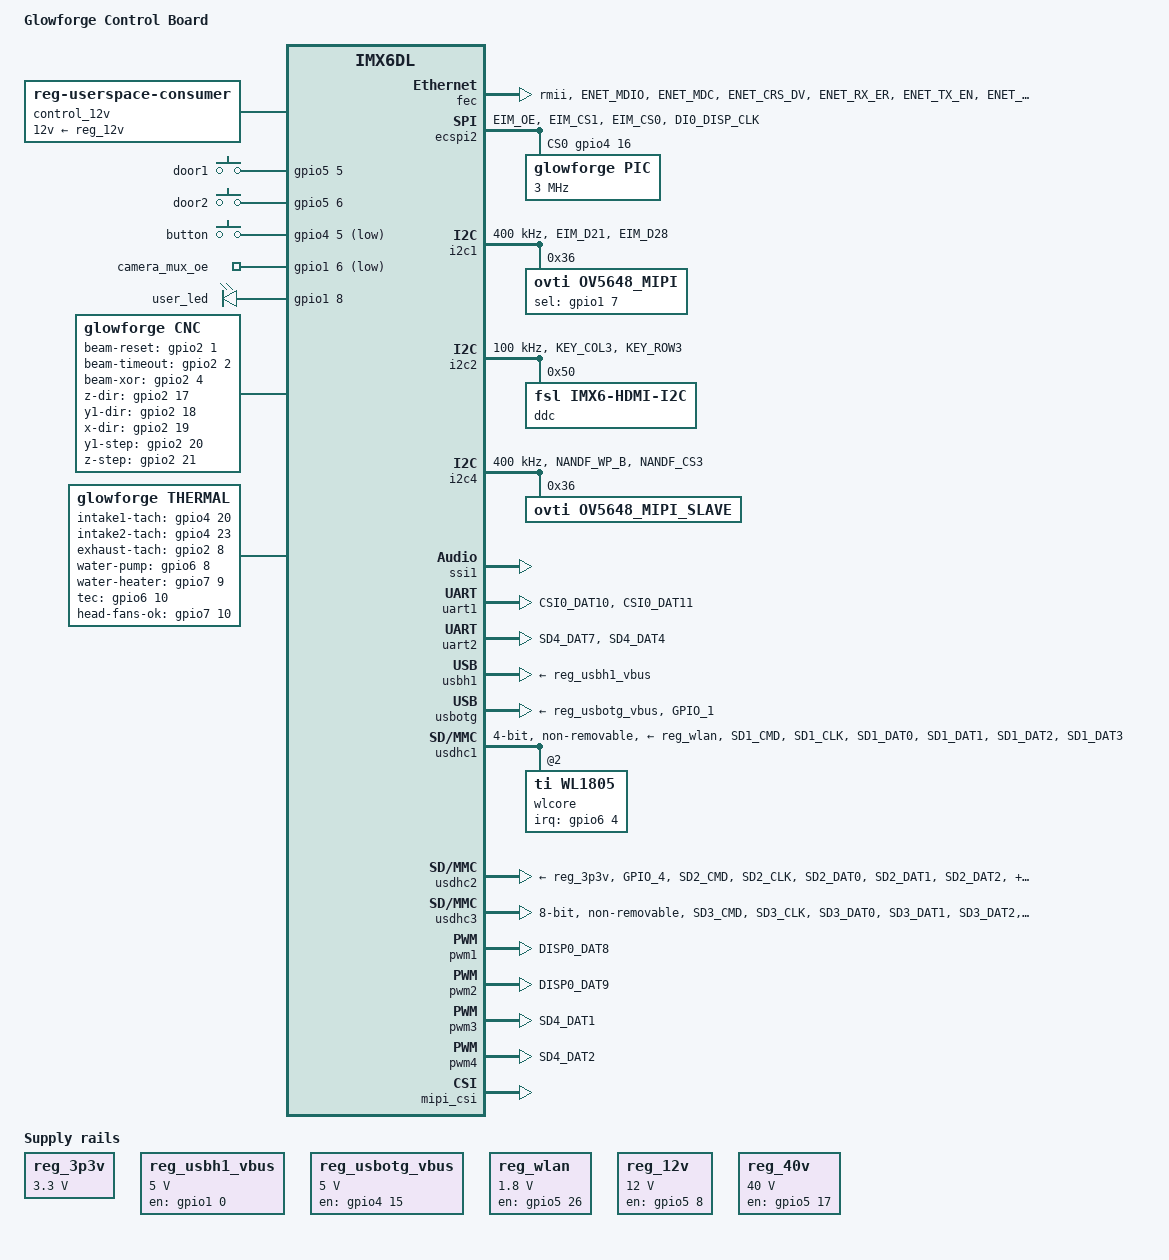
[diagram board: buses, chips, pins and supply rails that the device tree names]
/*
 * Copyright (C) 2015 Glowforge, Inc. <opensource@glowforge.com>
 * Based on work by Rabeeh Khoury and Russell King.
 */
/dts-v1/;

#include "imx6dl.dtsi"
#include <dt-bindings/gpio/gpio.h>

/ {
	model = "Glowforge Control Board";
	compatible = "glowforge,imx6dl-glowforge", "fsl,imx6dl";

	/* An i.MX6 Solo is a DualLite with only one core. */
	cpus {
		/delete-node/ cpu@1;
	};

	chosen {
		bootargs = "quiet console=ttymxc0,115200 root=/dev/mmcblk1p2 rw";
	};

	aliases {
		mxcfb0 = &mxcfb1;
		i2c2 = &i2c4; /* code expects I2C4 to be at /dev/i2c-2 */
	};

	regulators {
		compatible = "simple-bus";

		reg_3p3v: 3p3v {
			compatible = "regulator-fixed";
			regulator-name = "3p3v";
			regulator-min-microvolt = <3300000>;
			regulator-max-microvolt = <3300000>;
			regulator-always-on;
		};

		reg_usbh1_vbus: usb-h1-vbus {
			compatible = "regulator-fixed";
			enable-active-high;
			gpio = <&gpio1 0 0>;
			pinctrl-names = "default";
			pinctrl-0 = <&pinctrl_usbh1_vbus>;
			regulator-name = "usb_h1_vbus";
			regulator-min-microvolt = <5000000>;
			regulator-max-microvolt = <5000000>;
		};

		reg_usbotg_vbus: usb-otg-vbus {
			compatible = "regulator-fixed";
			enable-active-high;
			gpio = <&gpio4 15 0>;
			pinctrl-names = "default";
			pinctrl-0 = <&pinctrl_usbotg_vbus>;
			regulator-name = "usb_otg_vbus";
			regulator-min-microvolt = <5000000>;
			regulator-max-microvolt = <5000000>;
		};

		reg_wlan: wlan-vbus {
			compatible = "regulator-fixed";
			regulator-name = "wlan-en-regulator";
			regulator-min-microvolt = <1800000>;
			regulator-max-microvolt = <1800000>;
			/* WLAN_EN GPIO */
			gpio = <&gpio5 26 0>;
			/* WLAN card specific delay */
			startup-delay-us = <70000>;
			enable-active-high;
		};

		reg_12v: 12v {
			compatible = "regulator-fixed";
			enable-active-high;
			regulator-boot-on;
			gpio = <&gpio5 8 0>;
			pinctrl-names = "default";
			pinctrl-0 = <&pinctrl_12v>;
			regulator-name = "12v";
			regulator-min-microvolt = <12000000>;
			regulator-max-microvolt = <12000000>;
		};

		reg_40v: 40v {
			compatible = "regulator-fixed";
			enable-active-high;
			gpio = <&gpio5 17 0>;
			pinctrl-names = "default";
			pinctrl-0 = <&pinctrl_40v>;
			regulator-name = "40v";
			regulator-min-microvolt = <40000000>;
			regulator-max-microvolt = <40000000>;
		};

		control_12v: control_12v {
			compatible = "reg-userspace-consumer";
			regulator-name = "control_12v";
			regulator-boot-on;
			regulator-supplies = "12v";
			12v-supply = <&reg_12v>;
		};
	};

	mxcfb1: fb@0 {
		compatible = "fsl,mxc_sdc_fb";
		disp_dev = "hdmi";
		interface_pix_fmt = "RGB24";
		mode_str ="1920x1080M@60";
		default_bpp = <32>;
		int_clk = <0>;
		late_init = <0>;
		status = "okay";
	};

	v4l2_cap_0 {
		compatible = "fsl,imx6q-v4l2-capture";
		ipu_id = <0>;
		csi_id = <1>;
		mclk_source = <0>;
		mipi_camera = <1>;
		default_input = <1>;
		status = "okay";
	};

	/* switches */
	switches {
		compatible = "gpio-keys";
		pinctrl-names = "default";
		pinctrl-0 = <&pinctrl_switches>;

		door1 {
			label = "door1";
			gpios = <&gpio5 5 GPIO_ACTIVE_HIGH>;
			debounce-interval = <5>;
			linux,code = <0>;
			linux,input-type = <5>; /* EV_SW */
		};
		door2 {
			label = "door2";
			gpios = <&gpio5 6 GPIO_ACTIVE_HIGH>;
			debounce-interval = <5>;
			linux,code = <1>;
			linux,input-type = <5>; /* EV_SW */
		};
		button {
			label = "button";
			gpios = <&gpio4 5 GPIO_ACTIVE_LOW>;
			debounce-interval = <20>;
			linux,code = <2>;
			linux,input-type = <5>; /* EV_SW */
		};
	};

	v4l2_out {
		compatible = "fsl,mxc_v4l2_output";
		status = "okay";
	};

	/* camera mux control */
	camera_mux {
		compatible = "gpio-leds";
		oe {
			label = "camera_mux_oe";
			gpios = <&gpio1 6 GPIO_ACTIVE_LOW>;
			default-state = "on";
		};
	};

	/* LEDs */
	leds {
		compatible = "gpio-leds";
		user_led {
			label = "user_led";
			gpios = <&gpio1 8 GPIO_ACTIVE_HIGH>;
			default-state = "off";
		};
	};

	/* stepper driver */
	cnc {
		compatible = "glowforge,cnc";
		pinctrl-names = "default";
		pinctrl-0 = <&pinctrl_cnc>;
		beam-reset-gpio    = <&gpio2 1 0>; /* unused; only v13 and later */
		beam-timeout-gpio  = <&gpio2 2 0>; /* unused; only v13 and later */
		beam-xor-gpio      = <&gpio2 4 0>; /* LASER_BEAM_DET_XOR */
		z-dir-gpio         = <&gpio2 17 0>;
		y1-dir-gpio        = <&gpio2 18 0>;
		x-dir-gpio         = <&gpio2 19 0>;
		y1-step-gpio       = <&gpio2 20 0>;
		z-step-gpio        = <&gpio2 21 0>;
		x-step-gpio        = <&gpio2 22 0>;
		y2-dir-gpio        = <&gpio2 28 0>;
		y2-step-gpio       = <&gpio2 29 0>;
		laser-enable-gpio  = <&gpio2 30 0>;
		laser-on-head-gpio = <&gpio2 31 0>; /* NC; only v16 and later */
		x-mode1-gpio       = <&gpio3 1 0>;
		y1-enable-gpio     = <&gpio3 2 0>;
		x-mode2-gpio       = <&gpio3 3 0>;
		y-mode0-gpio       = <&gpio3 4 0>;
		x-mode0-gpio       = <&gpio3 5 0>;
		x-home-gpio        = <&gpio3 6 0>;
		y-decay-gpio       = <&gpio3 7 0>;
		y1-fault-gpio      = <&gpio3 8 0>;
		y2-home-gpio       = <&gpio3 9 0>;
		y1-home-gpio       = <&gpio3 10 0>;
		y2-enable-gpio     = <&gpio3 11 0>;
		y-mode1-gpio       = <&gpio3 12 0>;
		y-mode2-gpio       = <&gpio3 13 0>;
		y2-fault-gpio      = <&gpio3 14 0>;
		sleep-gpio         = <&gpio3 16 0>;
		reset-gpio         = <&gpio3 18 0>;
		z-enable-gpio      = <&gpio3 22 0>;
		charge-pump-gpio   = <&gpio3 24 0>;
		x-decay-gpio       = <&gpio3 23 0>;
		x-fault-gpio       = <&gpio3 26 0>;
		x-enable-gpio      = <&gpio3 27 0>;
		beam-detect-gpio   = <&gpio4 6 0>; /* LASER_BEAM_DET */
		latch-reset-gpio   = <&gpio4 8 0>; /* BUTTON_LATCH_RESET */
		laser-pwm          = <1>;
		timer              = <&epit1>;
		sdma-params        = <26 0xe00>;
	};

	/* thermal */
	thermal {
		compatible = "glowforge,thermal";
		pinctrl-names = "default";
		pinctrl-0 = <&pinctrl_thermal>;
		intake1-tach-gpio = <&gpio4 20 0>;
		intake2-tach-gpio = <&gpio4 23 0>;
		exhaust-tach-gpio = <&gpio2 8 0>;
		water-pump-gpio   = <&gpio6 8 0>;
		water-heater-gpio = <&gpio7 9 0>; 
		tec-gpio          = <&gpio6 10 0>;
		head-fans-ok-gpio = <&gpio7 10 0>;
		intake-pwm        = <0>;
		exhaust-pwm       = <3>;
		air-assist-pwm    = <2>;
	};
};

&epit1 {
	compatible = "fsl,imx6qdl-epit";
	id = <0>;
	clocks = <&clks IMX6QDL_CLK_EPIT1>;
	clock-names = "epit1";
	sdma-event = <16>;
};

&epit2 {
	compatible = "fsl,imx6qdl-epit";
	id = <1>;
	clocks = <&clks IMX6QDL_CLK_EPIT2>;
	clock-names = "epit2";
	sdma-event = <9>; /* note: requires bit 5 set in IOMUXC_GPR0 */
	sdma-event-select = <&gpr 0 0x20 0x20>;
};

&fec {
	pinctrl-names = "default";
	pinctrl-0 = <&pinctrl_enet>;
	phy-mode = "rmii";
	phy-reset-gpios = <&gpio5 16 GPIO_ACTIVE_LOW>;
/*	interrupts-extended = <&gpio5 12 0x04>, <&intc 0 119 0x4>;*/ /*TODO: causes panic on boot*/
	status = "okay";
};

/*&hdmi_core {
	ipu_id = <0>;
	disp_id = <0>;
	status = "okay";
};

&hdmi_video {
	fsl,phy_reg_vlev = <0x0294>;
	fsl,phy_reg_cksymtx = <0x800d>;
	status = "okay";
};

&hdmi_cec {
	pinctrl-names = "default";
	pinctrl-0 = <&pinctrl_hdmi>;
	status = "okay";
};*/

&ecspi2 {
	fsl,spi-num-chipselects = <1>;
	cs-gpios = <&gpio4 16 0>;
	pinctrl-names = "default";
	pinctrl-0 = <&pinctrl_ecspi2>;
	status = "okay";

	pic: spi@0 {
		compatible = "glowforge,pic";
		/* Datasheet indicates max SCLK frequency is about 3.44MHz */
		spi-max-frequency = <3000000>;
		reg = <0>;
	};
};

&i2c1 {
	clock-frequency = <400000>;
	pinctrl-names = "default";
	pinctrl-0 = <&pinctrl_i2c1>;
	status = "okay";
	ov5648_mipi: ov5648_mipi@36 {
		compatible = "ovti,ov5648_mipi";
		reg = <0x36>;
		clocks = <&clks 0>;
		clock-names = "csi_mclk";
		sel-gpios = <&gpio1 7 GPIO_ACTIVE_HIGH>;
		default-state = "off"; /* off=camera A, on=camera B */
		ipu_id = <0>;
		csi_id = <1>;
		mclk = <25000000>;
		mclk_source = <0>;
		pinctrl-names = "default";
		extended-buffer;
	};
};

&i2c2 {
	clock-frequency = <100000>;
	pinctrl-names = "default";
	pinctrl-0 = <&pinctrl_i2c2>;
	status = "okay";

	ddc: imx6_hdmi_i2c@50 {
		compatible = "fsl,imx6-hdmi-i2c";
		reg = <0x50>;
	};
};

&i2c4 {
	clock-frequency = <400000>;
	pinctrl-names = "default";
	pinctrl-0 = <&pinctrl_i2c4>;
	status = "okay";
	/* Slave camera description (only for development purposes) */
	ov5648_mipi_slave: ov5648_mipi_slave@36 {
		compatible = "ovti,ov5648_mipi_slave";
		reg = <0x36>;
		/* Pi camera has its own 25MHz clock. */
		clocks = <&clks 0>;
		clock-names = "csi_mclk";
		ipu_id = <0>;
		csi_id = <1>;
		mclk = <25000000>;
		mclk_source = <0>;
		extended-buffer;
	};
};

&iomuxc {
	compatible: fsl,imx6sl-iomuxc;
	pinctrl-names = "default";
	pinctrl-0 = <&pinctrl_hog>;

	glowforge {
		pinctrl_hog: hog {
			fsl,pins = <
				MX6QDL_PAD_CSI0_DAT8__GPIO5_IO26  0x13059 /* WL_EN */
				MX6QDL_PAD_CSI0_DAT18__GPIO6_IO04 0x13059 /* WL_IRQ */
				/* GPIO2_IO16 NC */
				/* GPIO2_IO31 currently NC but could be CHARGE_PUMP if R78 fitted */
				/* GPIO3_IO00 NC */
				MX6QDL_PAD_EIM_DA15__GPIO3_IO15   0x1b0b0  /* NC */
				MX6QDL_PAD_EIM_D17__GPIO3_IO17    0x1b0b0  /* NC */
				MX6QDL_PAD_NANDF_CLE__GPIO6_IO07  0x1b0b0  /* NC */
			>;
		};

		pinctrl_uart1: glowforge_uart1 {
			fsl,pins = <
				MX6QDL_PAD_CSI0_DAT10__UART1_TX_DATA 0x1b0b1
				MX6QDL_PAD_CSI0_DAT11__UART1_RX_DATA 0x1b0b1
			>;
		};

	        pinctrl_uart2: glowforge_uart2 {
	                fsl,pins = <
	                        MX6QDL_PAD_SD4_DAT7__UART2_TX_DATA 0x1b0b1
	                        MX6QDL_PAD_SD4_DAT4__UART2_RX_DATA 0x1b0b1
	                >;
	        };

		pinctrl_ecspi2: glowforge_ecspi2 {
			fsl,pins = <
				MX6QDL_PAD_EIM_OE__ECSPI2_MISO      0x100b1
				MX6QDL_PAD_EIM_CS1__ECSPI2_MOSI     0x100b1
				MX6QDL_PAD_EIM_CS0__ECSPI2_SCLK     0x100b1
				MX6QDL_PAD_DI0_DISP_CLK__GPIO4_IO16 0x000b1
			>;
		};

		pinctrl_enet: glowforge_enet {
			fsl,pins = <
				MX6QDL_PAD_ENET_MDIO__ENET_MDIO     0x1b0b0
				MX6QDL_PAD_ENET_MDC__ENET_MDC       0x1b0b0
				MX6QDL_PAD_ENET_CRS_DV__ENET_RX_EN  0x1b0b0
				MX6QDL_PAD_ENET_RX_ER__ENET_RX_ER   0x1b0b0
				MX6QDL_PAD_ENET_TX_EN__ENET_TX_EN   0x1b0b0
				MX6QDL_PAD_ENET_RXD0__ENET_RX_DATA0 0x1b0b0
				MX6QDL_PAD_ENET_RXD1__ENET_RX_DATA1 0x1b0b0
				MX6QDL_PAD_ENET_TXD0__ENET_TX_DATA0 0x1b0b0
				MX6QDL_PAD_ENET_TXD1__ENET_TX_DATA1 0x1b0b0
				MX6QDL_PAD_GPIO_16__ENET_REF_CLK 0x4001b0a8	/* SION enabled */
				MX6QDL_PAD_DISP0_DAT22__GPIO5_IO16  0x000b0	/* phy reset */
				MX6QDL_PAD_DISP0_DAT18__GPIO5_IO12  0x000b1	/* IRQ */
			>;
		};

		pinctrl_hdmi: glowforge_hdmi {
			fsl,pins = <
				MX6QDL_PAD_KEY_ROW2__HDMI_TX_CEC_LINE 0x1f8b0
			>;
		};

		pinctrl_i2c1: glowforge_i2c1 {
			fsl,pins = <
				MX6QDL_PAD_EIM_D21__I2C1_SCL   0x4001b8b1	/* SION enabled */
				MX6QDL_PAD_EIM_D28__I2C1_SDA   0x4001b8b1	/* SION enabled */
			>;
		};

		pinctrl_i2c2: glowforge_i2c2 {
			fsl,pins = <
				MX6QDL_PAD_KEY_COL3__I2C2_SCL   0x4001b8b1	/* SION enabled */
				MX6QDL_PAD_KEY_ROW3__I2C2_SDA   0x4001b8b1	/* SION enabled */
			>;
		};

		pinctrl_i2c4: glowforge_i2c4 {
			fsl,pins = <
				MX6QDL_PAD_NANDF_WP_B__I2C4_SCL 0x4001b8b1	/* OD, SION enabled */
				MX6QDL_PAD_NANDF_CS3__I2C4_SDA  0x4001b8b1	/* OD, SION enabled */
			>;
		};

		pinctrl_cnc: glowforge_cnc {
			fsl,pins = <
				MX6QDL_PAD_NANDF_D4__GPIO2_IO04    0x1b0b0	/* /LASER_BEAM_DET_XOR */

				/* GPIO2_IO16 NC */
				MX6QDL_PAD_EIM_A21__GPIO2_IO17     0x1b0b0	/* STEP_Z_DIR */
				MX6QDL_PAD_EIM_A20__GPIO2_IO18     0x1b0b0	/* Y1_DIR */
				MX6QDL_PAD_EIM_A19__GPIO2_IO19     0x1b0b0	/* X_DIR */
				MX6QDL_PAD_EIM_A18__GPIO2_IO20     0x1b0b0	/* Y1_STEP */
				MX6QDL_PAD_EIM_A17__GPIO2_IO21     0x1b0b0	/* STEP_Z_STEP */
				MX6QDL_PAD_EIM_A16__GPIO2_IO22     0x1b0b0	/* X_STEP */
				MX6QDL_PAD_EIM_EB0__GPIO2_IO28     0x1b0b0	/* Y2_DIR */
				MX6QDL_PAD_EIM_EB1__GPIO2_IO29     0x1b0b0	/* Y2_STEP */
				MX6QDL_PAD_EIM_EB2__GPIO2_IO30  0x4001b0b0	/* LASER_ENABLE, SION enabled */
				/* GPIO2_IO31 currently NC but could be CHARGE_PUMP if R78 fitted */

				/* GPIO3_IO00 NC */
				MX6QDL_PAD_EIM_DA1__GPIO3_IO01  0x4001b0b0	/* X_MODE1, SION enabled */
				MX6QDL_PAD_EIM_DA2__GPIO3_IO02     0x1b0b0	/* Y1_ENBL */
				MX6QDL_PAD_EIM_DA3__GPIO3_IO03  0x4001b0b0	/* X_MODE2, SION enabled */
				MX6QDL_PAD_EIM_DA4__GPIO3_IO04  0x4001b0b0	/* Y_MODE0, SION enabled */
				MX6QDL_PAD_EIM_DA5__GPIO3_IO05  0x4001b0b0	/* X_MODE0, SION enabled */
				MX6QDL_PAD_EIM_DA6__GPIO3_IO06     0x100b0	/* X_HOME, no pulldown or pullup */
				MX6QDL_PAD_EIM_DA7__GPIO3_IO07  0x4001b0b0	/* Y_DECAY, SION enabled */
				MX6QDL_PAD_EIM_DA8__GPIO3_IO08     0x1b0b0	/* Y1_FAULT */
				MX6QDL_PAD_EIM_DA9__GPIO3_IO09     0x1b0b0	/* Y2_HOME */
				MX6QDL_PAD_EIM_DA10__GPIO3_IO10    0x1b0b0	/* Y1_HOME */
				MX6QDL_PAD_EIM_DA11__GPIO3_IO11    0x1b0b0	/* Y2_ENBL */
				MX6QDL_PAD_EIM_DA12__GPIO3_IO12 0x4001b0b0	/* Y_MODE1, SION enabled */
				MX6QDL_PAD_EIM_DA13__GPIO3_IO13 0x4001b0b0	/* Y_MODE2, SION enabled */
				MX6QDL_PAD_EIM_DA14__GPIO3_IO14    0x1b0b0	/* Y2_FAULT */
				/* MX6QDL_PAD_EIM_DA15__GPIO3_IO15         NC */
				MX6QDL_PAD_EIM_D16__GPIO3_IO16     0x1b0b0	/* STEP_SLEEP */
				/* MX6QDL_PAD_EIM_D17__GPIO3_IO17        NC */
				MX6QDL_PAD_EIM_D18__GPIO3_IO18     0x1b0b0	/* /STEP_RESET */
				MX6QDL_PAD_EIM_D22__GPIO3_IO22     0x1b0b0	/* STEP_Z_CTRL */
				MX6QDL_PAD_EIM_D23__GPIO3_IO23  0x4001b0b0	/* X_DECAY, SION enabled */
				MX6QDL_PAD_EIM_D24__GPIO3_IO24  0x4001b0b0	/* CHARGE_PUMP, SION enabled */
				MX6QDL_PAD_EIM_D26__GPIO3_IO26     0x100b0	/* /X_FAULT, no pulldown or pullup */
				MX6QDL_PAD_EIM_D27__GPIO3_IO27     0x1b0b0	/* X_ENBL */
				MX6QDL_PAD_KEY_COL0__GPIO4_IO06    0x1b0b0	/* /LASER_BEAM_DET */
				MX6QDL_PAD_KEY_ROW0__GPIO4_IO07    0x1b0b0	/* LASER_BEAM_DET_ERR */
				MX6QDL_PAD_GPIO_18__GPIO7_IO13     0x1b0b0	/* /LASER_DET_RST */
				MX6QDL_PAD_KEY_COL1__GPIO4_IO08    0x130b0	/* BUTTON_LATCH_RESET, 100k pulldown */
			>;
		};

		pinctrl_thermal: glowforge_thermal {
			fsl,pins = <
				MX6QDL_PAD_DI0_PIN4__GPIO4_IO20      0x1b0b0	/* FAN_TACH_INTAKE1 */
				MX6QDL_PAD_DISP0_DAT2__GPIO4_IO23    0x1b0b0	/* FAN_TACH_INTAKE2 */
				/* MX6QDL_PAD_NANDF_CLE__GPIO6_IO07  0x1b0b0 */	/* NC */
				MX6QDL_PAD_NANDF_ALE__GPIO6_IO08  0x4001b0b0	/* WATER_ON, SION enabled */
				MX6QDL_PAD_NANDF_RB0__GPIO6_IO10  0x4001b0b0	/* TEC_ON, SION enabled */
				MX6QDL_PAD_SD4_CMD__GPIO7_IO09    0x4001b0b0	/* WATER_HEATER_ON, SION enabled */
				MX6QDL_PAD_SD4_CLK__GPIO7_IO10       0x1b0b0	/* FANS_HEAD_GOOD */
				MX6QDL_PAD_SD4_DAT0__GPIO2_IO08      0x1b0b0	/* FAN_TACH_EXHAUST */
			>;
		};

		pinctrl_usbh1_vbus: glowforge_usbh1_vbus {
			fsl,pins = <MX6QDL_PAD_GPIO_0__USB_H1_PWR 0x1b0b0>;
		};

		pinctrl_usbotg_id: glowforge_usbotg_id {
			/*
			 * Similar to pinctrl_usbotg_2, but we want it
			 * pulled down for a fixed host connection.
			 */
			fsl,pins = <MX6QDL_PAD_GPIO_1__USB_OTG_ID 0x13059>;
		};

		pinctrl_usbotg_vbus: glowforge_usbotg_vbus {
			fsl,pins = <MX6QDL_PAD_KEY_ROW4__USB_OTG_PWR 0x1b0b0>;
		};

		pinctrl_12v: glowforge_12v {
			fsl,pins = <MX6QDL_PAD_DISP0_DAT14__GPIO5_IO08 0x1b0b0>;
		};

		pinctrl_40v: glowforge_40v {
			fsl,pins = <MX6QDL_PAD_DISP0_DAT23__GPIO5_IO17 0x1b0b0>;
		};

		pinctrl_usdhc2_aux: glowforge_usdhc2_aux {
			fsl,pins = <
				MX6QDL_PAD_GPIO_4__GPIO1_IO04    0x1f071
			>;
		};

		pinctrl_usdhc1: glowforge_usdhc1 {
			fsl,pins = <
				MX6QDL_PAD_SD1_CMD__SD1_CMD    0x17069
				MX6QDL_PAD_SD1_CLK__SD1_CLK    0x10069
				MX6QDL_PAD_SD1_DAT0__SD1_DATA0 0x17069
				MX6QDL_PAD_SD1_DAT1__SD1_DATA1 0x17069
				MX6QDL_PAD_SD1_DAT2__SD1_DATA2 0x17069
				MX6QDL_PAD_SD1_DAT3__SD1_DATA3 0x17069
			>;
		};

		pinctrl_usdhc2: glowforge_usdhc2 {
			fsl,pins = <
				MX6QDL_PAD_SD2_CMD__SD2_CMD    0x17059
				MX6QDL_PAD_SD2_CLK__SD2_CLK    0x10059
				MX6QDL_PAD_SD2_DAT0__SD2_DATA0 0x17059
				MX6QDL_PAD_SD2_DAT1__SD2_DATA1 0x17059
				MX6QDL_PAD_SD2_DAT2__SD2_DATA2 0x17059
				MX6QDL_PAD_SD2_DAT3__SD2_DATA3 0x13059
			>;
		};

		pinctrl_usdhc3: usdhc3grp {
			fsl,pins = <
				MX6QDL_PAD_SD3_CMD__SD3_CMD    0x17059
				MX6QDL_PAD_SD3_CLK__SD3_CLK    0x10059
				MX6QDL_PAD_SD3_DAT0__SD3_DATA0 0x17059
				MX6QDL_PAD_SD3_DAT1__SD3_DATA1 0x17059
				MX6QDL_PAD_SD3_DAT2__SD3_DATA2 0x17059
				MX6QDL_PAD_SD3_DAT3__SD3_DATA3 0x17059
				MX6QDL_PAD_SD3_DAT4__SD3_DATA4 0x17059
				MX6QDL_PAD_SD3_DAT5__SD3_DATA5 0x17059
				MX6QDL_PAD_SD3_DAT6__SD3_DATA6 0x17059
				MX6QDL_PAD_SD3_DAT7__SD3_DATA7 0x17059
				MX6QDL_PAD_SD3_RST__SD3_RESET  0x1b0b0
			>;
		};

		pinctrl_pwm1: glowforge_pwm1 {
			fsl,pins = <
				MX6QDL_PAD_DISP0_DAT8__PWM1_OUT 0x1b0b8	/* FAN_PWM_INTAKE, strong drive */
			>;
		};

		pinctrl_pwm2: glowforge_pwm2 {
			fsl,pins = <
				MX6QDL_PAD_DISP0_DAT9__PWM2_OUT 0x1b0b8	/* LASER_PWM, strong drive */
			>;
		};

		pinctrl_pwm3: glowforge_pwm3 {
			fsl,pins = <
				MX6QDL_PAD_SD4_DAT1__PWM3_OUT 0x1b0b8	/* FAN_PWM_AIR_ASSIST, strong drive */
			>;
		};

		pinctrl_pwm4: glowforge_pwm4 {
			fsl,pins = <
				MX6QDL_PAD_SD4_DAT2__PWM4_OUT 0x1b0b8	/* FAN_PWM_EXHAUST, strong drive */
			>;
		};

		pinctrl_switches: glowforge_switches {
			fsl,pins = <
				MX6QDL_PAD_DISP0_DAT11__GPIO5_IO05 0x100b0	/* DOOR_SW1 */
				MX6QDL_PAD_DISP0_DAT12__GPIO5_IO06 0x100b0	/* DOOR_SW2 */
				MX6QDL_PAD_GPIO_19__GPIO4_IO05     0x100b0	/* PAUSE (button pressed) */
				MX6QDL_PAD_KEY_ROW1__GPIO4_IO09    0x100b0	/* ESTOP (either door open) */
			>;
		};
	};
};

&ssi1 {
	fsl,mode = "i2s-slave";
	status = "okay";
};

&uart1 {
	pinctrl-names = "default";
	pinctrl-0 = <&pinctrl_uart1>;
	status = "okay";
};

&uart2 {
	pinctrl-names = "default";
	pinctrl-0 = <&pinctrl_uart2>;
	status = "okay";
	fsl,irda-mode;
};

&usbh1 {
	disable-over-current;
	vbus-supply = <&reg_usbh1_vbus>;
	status = "okay";
};

&usbotg {
	disable-over-current;
	pinctrl-names = "default";
	pinctrl-0 = <&pinctrl_usbotg_id>;
	vbus-supply = <&reg_usbotg_vbus>;
	status = "okay";
};

/* WL1805 */
&usdhc1 {
	pinctrl-names = "default";
	pinctrl-0 = <&pinctrl_usdhc1>;
	bus-width = <4>;
	no-1-8-v;
	keep-power-in-suspend;
	enable-sdio-wakeup;
	vmmc-supply = <&reg_wlan>;
	non-removable;    /* non-removable is not a variable, the fact it is */
	                  /* listed is all that is used by driver  */
	cap-power-off-card;
	status = "okay";
	#address-cells = <1>;
	#size-cells = <0>;
	wlcore: wlcore@0 {
		compatible = "ti,wl1805";
		reg = <2>;
		interrupt-parent = <&gpio6>;
		interrupts = <4 IRQ_TYPE_EDGE_RISING>;
	};
};

/* SD card */
&usdhc2 {
	pinctrl-names = "default";
	pinctrl-0 = <
		&pinctrl_usdhc2_aux
		&pinctrl_usdhc2
	>;
	vmmc-supply = <&reg_3p3v>;
	cd-gpios = <&gpio1 4 0>;
	status = "okay";
};

/* eMMC */
&usdhc3 {
	pinctrl-names = "default";
	pinctrl-0 = <&pinctrl_usdhc3>;
	bus-width = <8>;
	non-removable;
	no-1-8-v;
	keep-power-in-suspend;
	cd-gpios = <>;
	wp-gpios = <>;
	status = "okay";
};

&gpc {
	fsl,cpu_pupscr_sw2iso = <0xf>;
	fsl,cpu_pupscr_sw = <0xf>;
	fsl,cpu_pdnscr_iso2sw = <0x1>;
	fsl,cpu_pdnscr_iso = <0x1>;
};

&pwm1 {
	pinctrl-names = "default";
	pinctrl-0 = <&pinctrl_pwm1>;
	status = "okay";
};

&pwm2 {
	pinctrl-names = "default";
	pinctrl-0 = <&pinctrl_pwm2>;
	status = "okay";
	fsl,extra-prescale = <13>;
};

&pwm3 {
	pinctrl-names = "default";
	pinctrl-0 = <&pinctrl_pwm3>;
	status = "okay";
};

&pwm4 {
	pinctrl-names = "default";
	pinctrl-0 = <&pinctrl_pwm4>;
	status = "okay";
};

&mipi_csi {
	ipu_id = <0>;
	csi_id = <1>;
	v_channel = <0>;
	lanes = <2>;
	mipi_dphy_clk = <0x28>;
	status = "okay";
};

